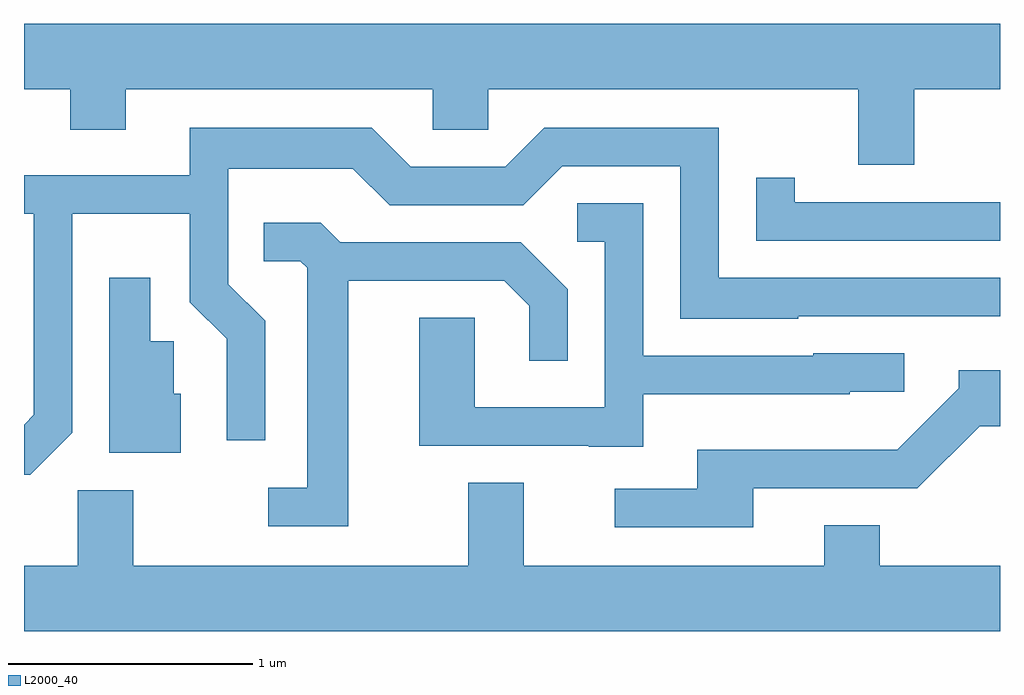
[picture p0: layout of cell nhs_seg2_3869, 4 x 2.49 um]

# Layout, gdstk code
import gdstk
lib = gdstk.Library(unit=1e-6, precision=1e-09)
def P(c, l, *ps):  # polygons
    for p in ps: c.add(gdstk.Polygon(p, *l))
L2000_40 = (2000, 40)

nhs_seg2_3869 = lib.new_cell('nhs_seg2_3869')
P(nhs_seg2_3869, L2000_40, [(303.259,986.156),(303.611,986.156),(303.611,986.424),(299.611,986.424),(299.611,986.156),(299.801,986.156),(299.801,985.991),(300.029,985.991),(300.029,986.156),(301.286,986.156),(301.286,985.991),(301.514,985.991),(301.514,986.156),(303.031,986.156),(303.031,985.846),(303.259,985.846)],
  [(299.809,984.749),(299.809,985.646),(300.291,985.646),(300.291,985.284),(300.441,985.134),(300.441,984.718),(300.599,984.718),(300.599,985.207),(300.449,985.357),(300.449,985.831),(300.959,985.831),(301.109,985.681),(301.657,985.681),(301.817,985.841),(302.301,985.841),(302.301,985.216),(302.785,985.216),(302.785,985.226),(303.611,985.226),(303.611,985.384),(302.459,985.384),(302.459,985.999),(301.744,985.999),(301.584,985.839),(301.197,985.839),(301.037,985.999),(300.291,985.999),(300.291,985.804),(299.611,985.804),(299.611,985.646),(299.651,985.646),(299.651,984.822),(299.611,984.782),(299.611,984.576),(299.637,984.576)],
  [(303.611,985.694),(302.769,985.694),(302.769,985.793),(302.611,985.793),(302.611,985.536),(303.611,985.536)],
  [(302.149,984.906),(302.995,984.906),(302.995,984.916),(303.218,984.916),(303.218,985.074),(302.845,985.074),(302.845,985.064),(302.149,985.064),(302.149,985.689),(301.878,985.689),(301.878,985.531),(301.991,985.531),(301.991,984.854),(301.459,984.854),(301.459,985.219),(301.231,985.219),(301.231,984.696),(301.925,984.696),(301.925,984.691),(302.149,984.691)],
  [(300.939,985.371),(301.579,985.371),(301.681,985.269),(301.681,985.043),(301.839,985.043),(301.839,985.337),(301.647,985.529),(300.907,985.529),(300.827,985.609),(300.593,985.609),(300.593,985.451),(300.744,985.451),(300.771,985.424),(300.771,984.524),(300.613,984.524),(300.613,984.366),(300.939,984.366)],
  [(300.254,984.909),(300.224,984.909),(300.224,985.124),(300.129,985.124),(300.129,985.383),(299.961,985.383),(299.961,984.666),(300.254,984.666)],
  [(302.599,984.521),(303.272,984.521),(303.527,984.776),(303.611,984.776),(303.611,985.004),(303.441,985.004),(303.441,984.932),(303.189,984.679),(302.371,984.679),(302.371,984.519),(302.033,984.519),(302.033,984.361),(302.599,984.361)],
  [(303.611,984.204),(303.119,984.204),(303.119,984.369),(302.891,984.369),(302.891,984.204),(301.659,984.204),(301.659,984.544),(301.431,984.544),(301.431,984.204),(300.059,984.204),(300.059,984.514),(299.831,984.514),(299.831,984.204),(299.611,984.204),(299.611,983.936),(303.611,983.936)])

lib.write_gds('nhs_seg2_3869.gds')
